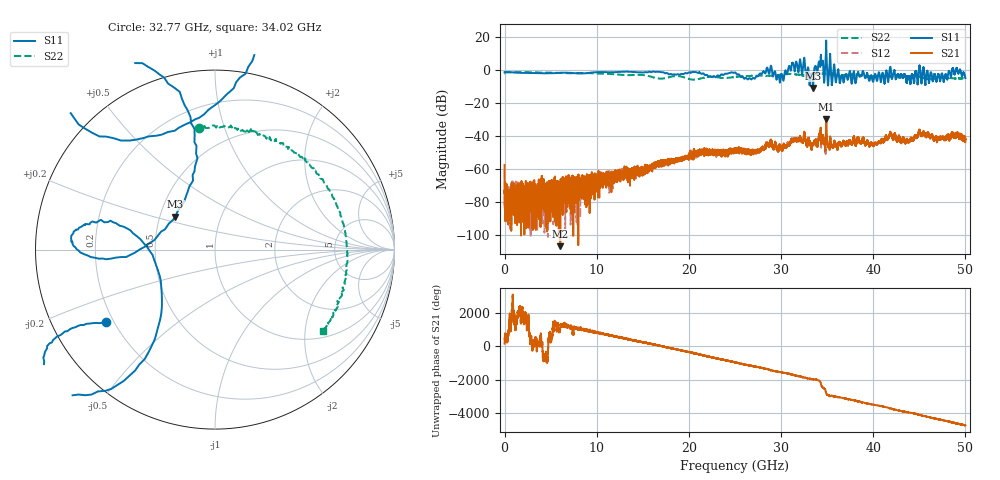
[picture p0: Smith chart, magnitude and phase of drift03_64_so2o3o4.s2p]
!Created with skrf (http://scikit-rf.org).
# Hz S RI R 50.0
!freq ReS11 ImS11 ReS21 ImS21 ReS12 ImS12 ReS22 ImS22
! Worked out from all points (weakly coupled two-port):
!   10001 points, 300 kHz to 50 GHz, reference 50 ohm
!   highest |S21| = -29.79 dB at 34.9 GHz (marker M1); lowest = -106.7 dB at 6.04 GHz (marker M2)
!   lowest |S11| = -10.9 dB at 33.47 GHz (marker M3), VSWR 1.80, Z = 30.1 + j12 ohm
!   |S11| at or under -10 dB: 33.45018 GHz to 33.48488 GHz (34.7 MHz wide, 0.104 % of centre)
!   |S22| runs from -5.9 to -1.3 dB; largest |S21 - S12| = 0.0076
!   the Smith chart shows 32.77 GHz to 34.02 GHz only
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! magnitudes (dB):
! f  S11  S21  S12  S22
! 300 kHz  -1.3  -57.5  -60.9  -2.0
! 255.3 MHz  -1.3  -78.8  -84.5  -1.4
! 485.3 MHz  -1.4  -83.8  -76.4  -1.5
! 6.04 GHz  -1.8  -106.7  -74.9  -1.8
! 8.335 GHz  -2.2  -72.2  -71.1  -1.9
! 16.67 GHz  -1.1  -55.8  -57.0  -5.2
! 25 GHz  -1.5  -48.1  -49.0  -4.3
! 26.92 GHz  -4.9  -48.3  -49.0  -3.5
! 28.72 GHz  -2.3  -44.8  -45.5  -3.6
! 30.06 GHz  -2.5  -47.8  -47.3  -2.8
! 31.87 GHz  -1.4  -42.2  -41.6  -2.9
! 33.34 GHz  -2.2  -48.1  -47.3  -2.9
! 33.47 GHz  -10.9  -44.7  -45.1  -2.8
! 34.3 GHz  7.3  -35.3  -36.1  -2.3
! 34.9 GHz  17.8  -29.8  -30.2  -2.4
! 36.58 GHz  -3.4  -46.0  -46.4  -3.6
! 40.17 GHz  -2.5  -44.9  -44.3  -3.7
! 41.67 GHz  -5.4  -40.6  -40.5  -3.7
! 43.84 GHz  -3.6  -43.5  -44.3  -3.8
! 45.19 GHz  -5.9  -39.1  -39.2  -4.5
! 49.21 GHz  -2.1  -40.0  -39.1  -5.1
! 50 GHz  -4.9  -42.2  -42.3  -5.0
